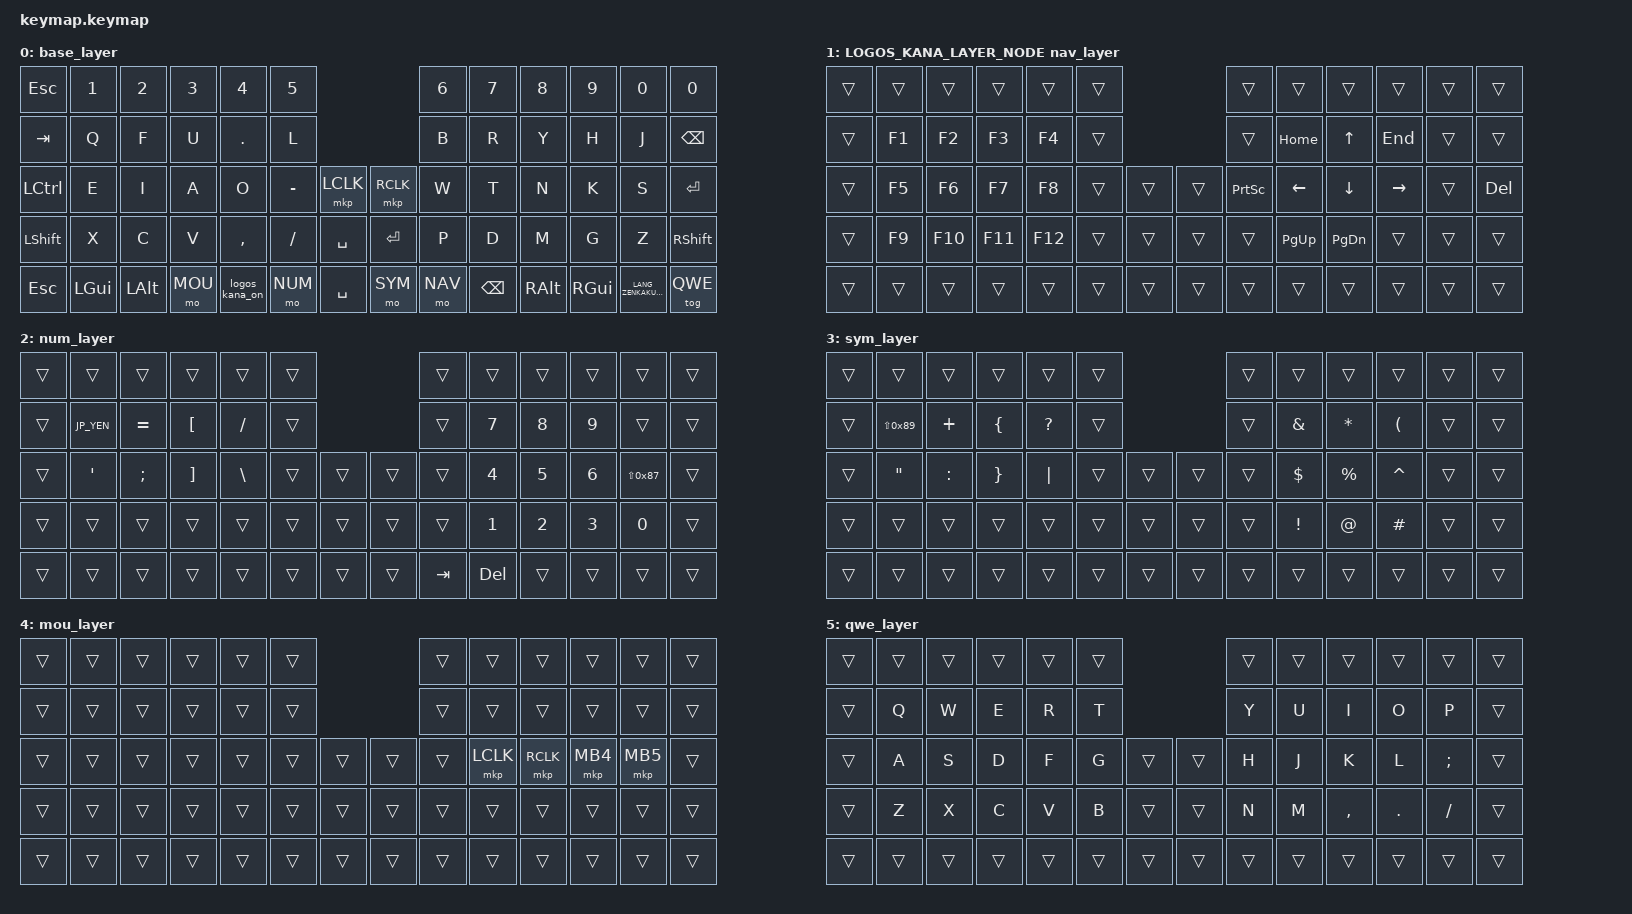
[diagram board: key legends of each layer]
#include <behaviors.dtsi>
#include <dt-bindings/zmk/bt.h>
#include <dt-bindings/zmk/keys.h>
#include <dt-bindings/zmk/modifiers.h>
#include <dt-bindings/zmk/pointing.h>

// OS設定を日本語キーボードのまま使用するための変換定義
#define JP_DQUOTE       AT                // "
#define JP_AMPERSAND    CARET             // &
#define JP_QUOTE        AMPERSAND         // '
#define JP_EQUAL        UNDER             // =
#define JP_CARET        EQUAL             // ^
#define JP_YEN          0x89              // ¥
#define JP_PLUS         COLON             // +
#define JP_TILDE        PLUS              // ~
#define JP_PIPE         LS(0x89)          // |
#define JP_AT           LEFT_BRACKET      // @
#define JP_COLON        SINGLE_QUOTE      // :
#define JP_ASTERISK     DOUBLE_QUOTES     // *
#define JP_BACKQUOTE    LEFT_BRACE        // `
#define JP_UNDERSCORE   LS(0x87)          // _
#define JP_LBRACKET     RIGHT_BRACKET     // [
#define JP_RBRACKET     BACKSLASH         // ]
#define JP_LPAREN       ASTERISK          // (
#define JP_RPAREN       LEFT_PARENTHESIS  // )
#define JP_LBRACE       RIGHT_BRACE       // {
#define JP_RBRACE       PIPE              // }
#define JP_KANA         LANGUAGE_1        // かな
#define JP_EISU         LANGUAGE_2        // 英数
#define JP_HANZEN       GRAVE             // 半角/全角

#define BASE 0
#define KANA 1
#define NAV  2
#define NUM  3
#define SYM  4
#define MOU  5
#define QWE  6

#define LOGOS_KANA_LAYER KANA
#define LOGOS_KANA_ON_BINDINGS <&kp INT_MUHENKAN>, <&tog KANA>
#define LOGOS_KANA_OFF_BINDINGS <&kp INT_HENKAN>, <&tog KANA>

#include <behaviors/logos_kana_qwerty.dtsi>
#include <behaviors/logos_kana_torabo_tsuki_lp.dtsi>
#include <behaviors/logos_kana.dtsi>

/ {
    combos {
        compatible = "zmk,combos";

        bt_clear {
            bindings = <&bt BT_CLR>;
            key-positions = <28 29>;
            layers = <NUM>;
        };
    };

    keymap {
        compatible = "zmk,keymap";

        base_layer {
            bindings = <
&kp ESC    &kp N1        &kp N2    &kp N3    &kp N4            &kp N5                        &kp N6  &kp N7    &kp N8     &kp N9    &kp N0     &kp N0
&kp TAB    &kp Q         &kp F     &kp U     &kp DOT           &kp L                         &kp B   &kp R     &kp Y      &kp H     &kp J      &kp BSPC
&kp LCTRL  &kp E         &kp I     &kp A     &kp O             &kp MINUS   &mkp LCLK  &mkp RCLK  &kp W   &kp T     &kp N      &kp K     &kp S      &kp ENTER
&kp LSHFT  &kp X         &kp C     &kp V     &kp COMMA         &kp SLASH   &kp SPACE  &kp RET    &kp P   &kp D     &kp M      &kp G     &kp Z      &kp RSHFT
&kp ESC    &kp LEFT_GUI  &kp LALT  &mo MOU  &logos_kana_on  &mo NUM  &kp SPACE  &mo SYM    &mo NAV  &kp BSPC  &kp RALT   &kp RGUI  &kp LANG_ZENKAKUHANKAKU  &tog QWE
            >;
        };

        LOGOS_KANA_LAYER_NODE

        nav_layer {
            bindings = <
&trans  &trans  &trans   &trans   &trans   &trans                  &trans           &trans          &trans          &trans           &trans  &trans
&trans  &kp F1  &kp F2   &kp F3   &kp F4   &trans                  &trans           &kp HOME        &kp UP_ARROW    &kp END          &trans  &trans
&trans  &kp F5  &kp F6   &kp F7   &kp F8   &trans  &trans  &trans  &kp PRINTSCREEN  &kp LEFT_ARROW  &kp DOWN_ARROW  &kp RIGHT_ARROW  &trans  &kp DELETE
&trans  &kp F9  &kp F10  &kp F11  &kp F12  &trans  &trans  &trans  &trans           &kp PAGE_UP     &kp PAGE_DOWN   &trans           &trans  &trans
&trans  &trans  &trans   &trans   &trans   &trans  &trans  &trans  &trans           &trans          &trans          &trans           &trans  &trans
            >;
        };

        num_layer {
            bindings = <
&trans  &trans         &trans         &trans            &trans             &trans                  &trans   &trans        &trans        &trans        &trans          &trans
&trans  &kp JP_YEN  &kp JP_CARET      &kp JP_AT       &kp SLASH          &trans                  &trans   &kp N7        &kp N8        &kp N9        &trans          &trans
&trans  &kp JP_COLON      &kp SEMICOLON  &kp JP_LBRACKET  &kp JP_RBRACKET  &trans  &trans  &trans  &trans   &kp NUMBER_4  &kp N5        &kp NUMBER_6  &kp JP_UNDERSCORE  &trans
&trans  &trans         &trans         &trans            &trans          &trans  &trans  &trans  &trans   &kp NUMBER_1  &kp NUMBER_2  &kp NUMBER_3  &kp N0          &trans
&trans  &trans         &trans         &trans            &trans             &trans  &trans  &trans  &kp TAB  &kp DEL       &trans        &trans        &trans          &trans
            >;
        };

        sym_layer {
            bindings = <
&trans  &trans        &trans     &trans          &trans           &trans                  &trans  &trans            &trans                &trans                 &trans  &trans
&trans  &kp JP_PIPE      &kp JP_TILDE  &kp JP_BACKQUOTE       &kp QUESTION     &trans                  &trans  &kp JP_QUOTE  &kp JP_LPAREN  &kp JP_RPAREN  &trans  &trans
&trans  &kp JP_ASTERISK  &kp JP_PLUS   &kp JP_LBRACE  &kp JP_RBRACE  &trans  &trans  &trans  &trans  &kp DOLLAR        &kp PERCENT           &kp JP_AMPERSAND          &trans  &trans
&trans  &trans        &trans     &trans          &trans           &trans  &trans  &trans  &trans  &kp EXCLAMATION   &kp JP_DQUOTE     &kp HASH               &trans  &trans
&trans  &trans        &trans     &trans          &trans           &trans  &trans  &trans  &trans  &trans            &trans                &trans                 &trans  &trans
            >;
        };

        mou_layer {
            bindings = <
&trans  &trans        &trans     &trans          &trans           &trans                  &trans  &trans            &trans                &trans                 &trans  &trans
&trans  &trans        &trans      &trans          &trans           &trans                  &trans  &trans            &trans                &trans                &trans  &trans
&trans  &trans        &trans     &trans          &trans           &trans  &trans  &trans  &trans  &mkp LCLK         &mkp RCLK             &mkp MB4               &mkp MB5  &trans
&trans  &trans        &trans     &trans          &trans           &trans  &trans  &trans  &trans  &trans            &trans                &trans                 &trans  &trans
&trans  &trans        &trans     &trans          &trans           &trans  &trans  &trans  &trans  &trans            &trans                &trans                 &trans  &trans
            >;
        };

        qwe_layer {
            bindings = <
&trans  &trans        &trans     &trans          &trans           &trans                  &trans  &trans            &trans                &trans                 &trans  &trans
&trans    &kp Q         &kp W     &kp E     &kp R             &kp T                         &kp Y   &kp U     &kp I      &kp O     &kp P      &trans
&trans  &kp A         &kp S     &kp D     &kp F             &kp G   &trans  &trans  &kp H   &kp J     &kp K      &kp L     &kp SEMI   &trans
&trans  &kp Z         &kp X     &kp C     &kp V             &kp B   &trans  &trans    &kp N   &kp M     &kp COMMA  &kp DOT   &kp SLASH  &trans
&trans  &trans        &trans     &trans          &trans           &trans  &trans  &trans  &trans  &trans            &trans                &trans                 &trans  &trans
            >;
        };
    };
};
